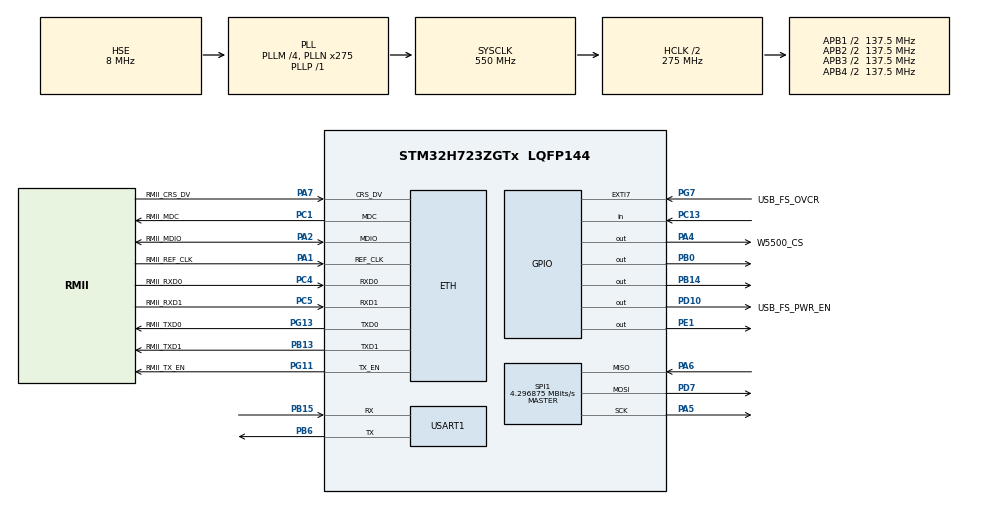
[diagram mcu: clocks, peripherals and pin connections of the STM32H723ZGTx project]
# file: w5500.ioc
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ETH.MediaInterface=HAL_ETH_RMII_MODE
Mcu.Family=STM32H7
Mcu.Name=STM32H723ZGTx
Mcu.Package=LQFP144
NUCLEO-H723ZG.BUTTON=1
NUCLEO-H723ZG.LD1=true
NUCLEO-H723ZG.LD2=true
NUCLEO-H723ZG.LD3=true
NUCLEO-H723ZG.VCP=true
NVIC.EXTI15_10_IRQn=true\:0\:0\:false\:false\:true\:false\:true\:true
NVIC.PriorityGroup=NVIC_PRIORITYGROUP_4
PA1.GPIO_Label=RMII_REF_CLK
PA1.Mode=RMII
PA1.Signal=ETH_REF_CLK
PA10.GPIO_Label=USB_FS_ID
PA10.Signal=USB_OTG_HS_ID
PA13(JTMS/SWDIO).GPIO_Label=SWDIO
PA13(JTMS/SWDIO).Mode=Trace_Asynchronous_SW
PA13(JTMS/SWDIO).Signal=DEBUG_JTMS-SWDIO
PA14(JTCK/SWCLK).GPIO_Label=SWCLK
PA14(JTCK/SWCLK).Mode=Trace_Asynchronous_SW
PA14(JTCK/SWCLK).Signal=DEBUG_JTCK-SWCLK
PA2.GPIO_Label=RMII_MDIO
PA2.Mode=RMII
PA2.Signal=ETH_MDIO
PA4.GPIO_Label=W5500_CS
PA4.Signal=GPIO_Output
PA5.Mode=Full_Duplex_Master
PA5.Signal=SPI1_SCK
PA6.Mode=Full_Duplex_Master
PA6.Signal=SPI1_MISO
PA7.GPIO_Label=RMII_CRS_DV
PA7.Mode=RMII
PA7.Signal=ETH_CRS_DV
PA9.GPIO_Label=USB_FS_VBUS
PA9.Signal=USB_OTG_HS_VBUS
PB0.Signal=GPIO_Output
PB13.GPIO_Label=RMII_TXD1
PB13.Mode=RMII
PB13.Signal=ETH_TXD1
PB14.Signal=GPIO_Output
PB15.Mode=Asynchronous
PB15.Signal=USART1_RX
PB3(JTDO/TRACESWO).GPIO_Label=SWO
PB3(JTDO/TRACESWO).Mode=Trace_Asynchronous_SW
PB3(JTDO/TRACESWO).Signal=DEBUG_JTDO-SWO
PB6.Mode=Asynchronous
PB6.Signal=USART1_TX
PC1.GPIO_Label=RMII_MDC
PC1.Mode=RMII
PC1.Signal=ETH_MDC
PC13.Signal=GPIO_Input
PC14-OSC32_IN.Mode=LSE-External-Oscillator
PC14-OSC32_IN.Signal=RCC_OSC32_IN
PC15-OSC32_OUT.Mode=LSE-External-Oscillator
PC15-OSC32_OUT.Signal=RCC_OSC32_OUT
PC4.GPIO_Label=RMII_RXD0
PC4.Mode=RMII
PC4.Signal=ETH_RXD0
PC5.GPIO_Label=RMII_RXD1
PC5.Mode=RMII
PC5.Signal=ETH_RXD1
PD10.GPIO_Label=USB_FS_PWR_EN
PD10.Signal=GPIO_Output
PD7.Mode=Full_Duplex_Master
PD7.Signal=SPI1_MOSI
PD8.Signal=USART3_TX
PD9.Signal=USART3_RX
PE1.Signal=GPIO_Output
PG11.GPIO_Label=RMII_TX_EN
PG11.Mode=RMII
PG11.Signal=ETH_TX_EN
PG13.GPIO_Label=RMII_TXD0
PG13.Mode=RMII
PG13.Signal=ETH_TXD0
PG7.GPIO_Label=USB_FS_OVCR
PG7.Signal=GPXTI7
PH0-OSC_IN.GPIO_Label=MCO
PH0-OSC_IN.Mode=HSE-External-Clock-Source
PH0-OSC_IN.Signal=RCC_OSC_IN
PH1-OSC_OUT.Signal=RCC_OSC_OUT
ProjectManager.HeapSize=0x200
ProjectManager.StackSize=0x400
ProjectManager.TargetToolchain=STM32CubeIDE
RCC.ADCFreq_Value=76000000
RCC.APB1Freq_Value=137500000
RCC.APB2Freq_Value=137500000
RCC.APB3Freq_Value=137500000
RCC.APB4Freq_Value=137500000
RCC.CortexFreq_Value=550000000
RCC.D1PPRE=RCC_APB3_DIV2
RCC.D2PPRE1=RCC_APB1_DIV2
RCC.D2PPRE2=RCC_APB2_DIV2
RCC.D3PPRE=RCC_APB4_DIV2
RCC.DIVM1=4
RCC.DIVM2=1
RCC.DIVN1=275
RCC.DIVN2=19
RCC.DIVP1=1
RCC.DIVQ1=4
RCC.HCLKFreq_Value=275000000
RCC.HPRE=RCC_HCLK_DIV2
RCC.HSE_VALUE=8000000
RCC.PLLFRACN=0
RCC.PLLSourceVirtual=RCC_PLLSOURCE_HSE
RCC.SYSCLKFreq_VALUE=550000000
RCC.SYSCLKSource=RCC_SYSCLKSOURCE_PLLCLK
RCC.USBCLockSelection=RCC_USBCLKSOURCE_HSI48
RCC.USBFreq_Value=48000000
SPI1.BaudRatePrescaler=SPI_BAUDRATEPRESCALER_32
SPI1.CalculateBaudRate=4.296875 MBits/s
SPI1.DataSize=SPI_DATASIZE_8BIT
SPI1.Direction=SPI_DIRECTION_2LINES
SPI1.Mode=SPI_MODE_MASTER
SPI1.VirtualType=VM_MASTER
USART1.VirtualMode-Asynchronous=VM_ASYNC
VP_MEMORYMAP_VS_MEMORYMAP.Mode=CurAppReg
VP_NUCLEO-H723ZG_VS_BSP_COMMON.Mode=COMMON
board=NUCLEO-H723ZG

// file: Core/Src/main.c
/* USER CODE BEGIN Header */
/**
  ******************************************************************************
  * @file           : main.c
  * @brief          : Main program body
  ******************************************************************************
  * @attention
  *
  * Copyright (c) 2026 STMicroelectronics.
  * All rights reserved.
  *
  * This software is licensed under terms that can be found in the LICENSE file
  * in the root directory of this software component.
  * If no LICENSE file comes with this software, it is provided AS-IS.
  *
  ******************************************************************************
  */
/* USER CODE END Header */
#include "main.h"
#include "string.h"

/* USER CODE BEGIN Includes */
#include <string.h>
#include <stdarg.h>
#include <stdbool.h>
#include <ctype.h>
#include "socket.h"
#include "dhcp.h"
#include "dns.h"
#include "mqtt_led.h"
/* USER CODE END Includes */

#if defined ( __ICCARM__ ) /*!< IAR Compiler */
#pragma location=0x30000000
ETH_DMADescTypeDef  DMARxDscrTab[ETH_RX_DESC_CNT]; /* Ethernet Rx DMA Descriptors */
#pragma location=0x30000080
ETH_DMADescTypeDef  DMATxDscrTab[ETH_TX_DESC_CNT]; /* Ethernet Tx DMA Descriptors */

#elif defined ( __CC_ARM )  /* MDK ARM Compiler */

__attribute__((at(0x30000000))) ETH_DMADescTypeDef  DMARxDscrTab[ETH_RX_DESC_CNT]; /* Ethernet Rx DMA Descriptors */
__attribute__((at(0x30000080))) ETH_DMADescTypeDef  DMATxDscrTab[ETH_TX_DESC_CNT]; /* Ethernet Tx DMA Descriptors */

#elif defined ( __GNUC__ ) /* GNU Compiler */

ETH_DMADescTypeDef DMARxDscrTab[ETH_RX_DESC_CNT] __attribute__((section(".RxDescripSection"))); /* Ethernet Rx DMA Descriptors */
ETH_DMADescTypeDef DMATxDscrTab[ETH_TX_DESC_CNT] __attribute__((section(".TxDescripSection")));   /* Ethernet Tx DMA Descriptors */
#endif

ETH_TxPacketConfig TxConfig;

COM_InitTypeDef BspCOMInit;

ETH_HandleTypeDef heth;

SPI_HandleTypeDef hspi1;

UART_HandleTypeDef huart1;

void SystemClock_Config(void);
static void MX_GPIO_Init(void);
static void MX_ETH_Init(void);
static void MX_SPI1_Init(void);
static void MX_USART1_UART_Init(void);

/* USER CODE BEGIN 0 */

#define DHCP_SOCKET     0
#define DNS_SOCKET      1
#define HTTP_SOCKET     2
#define ECHO_SOCKET		3
#define ECHO_PORT   	8080
void UART_Printf(const char* fmt, ...) {
    char buff[256];
    va_list args;
    va_start(args, fmt);
    vsnprintf(buff, sizeof(buff), fmt, args);
    HAL_UART_Transmit(&huart1, (uint8_t*)buff, strlen(buff),
                      HAL_MAX_DELAY);
    va_end(args);
}

void W5500_Select(void) {
    HAL_GPIO_WritePin(W5500_CS_GPIO_Port, W5500_CS_Pin, GPIO_PIN_RESET);
}

void W5500_Unselect(void) {
    HAL_GPIO_WritePin(W5500_CS_GPIO_Port, W5500_CS_Pin, GPIO_PIN_SET);
}

//void W5500_ReadBuff(uint8_t* buff, uint16_t len) {
//    HAL_SPI_Receive(&hspi1, buff, len, HAL_MAX_DELAY);
//}

void W5500_ReadBuff(uint8_t *buff, uint16_t len)
{
    if (HAL_SPI_Receive(&hspi1, buff, len, 100) != HAL_OK)
    {
        UART_Printf("W5500 SPI read failed: %d\r\n",
                    HAL_SPI_GetError(&hspi1));
        Error_Handler();
    }
}

void W5500_WriteBuff(uint8_t* buff, uint16_t len) {
    HAL_SPI_Transmit(&hspi1, buff, len, HAL_MAX_DELAY);
}

uint8_t W5500_ReadByte(void) {
    uint8_t byte;
    W5500_ReadBuff(&byte, sizeof(byte));
    return byte;
}

void W5500_WriteByte(uint8_t byte) {
    W5500_WriteBuff(&byte, sizeof(byte));
}

volatile bool ip_assigned = false;

void Callback_IPAssigned(void) {
    UART_Printf("Callback: IP assigned! Leased time: %d sec\r\n", getDHCPLeasetime());
    ip_assigned = true;
}

void Callback_IPConflict(void) {
    UART_Printf("Callback: IP conflict!\r\n");
}

void tcp_echo_server(void) {
    int32_t ret;
    uint8_t buf[256];

    // Create socket
    ret = socket(ECHO_SOCKET, Sn_MR_TCP, ECHO_PORT, 0);
    if(ret != ECHO_SOCKET) {
        UART_Printf("socket() failed, code = %d\r\n", ret);
        return;
    }

    // Listen for incoming connections
    ret = listen(ECHO_SOCKET);
    if(ret != SOCK_OK) {
        UART_Printf("listen() failed, code = %d\r\n", ret);
        close(ECHO_SOCKET);
        return;
    }

    UART_Printf("Echo server listening on port %d...\r\n", ECHO_PORT);

    while(1) {
        // Check socket status
        switch(getSn_SR(ECHO_SOCKET)) {
            case SOCK_ESTABLISHED:
                if(getSn_IR(ECHO_SOCKET) & Sn_IR_CON) {
                    UART_Printf("Client connected!\r\n");
                    setSn_IR(ECHO_SOCKET, Sn_IR_CON); // clear interrupt
                }

                // Receive data
                ret = recv(ECHO_SOCKET, buf, sizeof(buf));
                if(ret > 0) {
                    UART_Printf("Received %d bytes: %.*s\r\n", ret, ret, buf);
                    // Echo back
                    send(ECHO_SOCKET, buf, ret);
                }
                break;

            case SOCK_CLOSE_WAIT:
                UART_Printf("Client disconnected.\r\n");
                disconnect(ECHO_SOCKET);
                break;

            case SOCK_CLOSED:
                UART_Printf("Socket closed, reopening...\r\n");
                ret = socket(ECHO_SOCKET, Sn_MR_TCP, ECHO_PORT, 0);
                if(ret == ECHO_SOCKET) listen(ECHO_SOCKET);
                break;
        }

        HAL_Delay(10); // small delay to avoid busy loop
    }
}

// 1K should be enough, see https://forum.wiznet.io/t/topic/1612/2
uint8_t dhcp_buffer[1024];
// 1K seems to be enough for this buffer as well
uint8_t dns_buffer[1024];

//void init() {
//    UART_Printf("\r\ninit() called!\r\n");
//
//    UART_Printf("Registering W5500 callbacks...\r\n");
//    reg_wizchip_cs_cbfunc(W5500_Select, W5500_Unselect);
//    reg_wizchip_spi_cbfunc(W5500_ReadByte, W5500_WriteByte);
//    reg_wizchip_spiburst_cbfunc(W5500_ReadBuff, W5500_WriteBuff);
//
//    UART_Printf("Calling wizchip_init()...\r\n");
//    uint8_t rx_tx_buff_sizes[] = {2, 2, 2, 2, 2, 2, 2, 2};
//    wizchip_init(rx_tx_buff_sizes, rx_tx_buff_sizes);
//
//
//    wiz_NetInfo net_info = {
//        .mac = {0x00,0x08,0xDC,0x11,0x22,0x33},   // unique MAC
//        .ip  = {192,168,137,2},                   // static IP
//        .sn  = {255,255,255,0},                   // subnet mask
//        .gw  = {192,168,137,1},                     // gateway
//        .dhcp = NETINFO_STATIC
//    };
//
//    wizchip_setnetinfo(&net_info);
//    wiz_NetInfo current;
//    wizchip_getnetinfo(&current);
//
//    UART_Printf("IP:  %d.%d.%d.%d\r\nGW:  %d.%d.%d.%d\r\nNet: %d.%d.%d.%d\r\n",
//        current.ip[0], current.ip[1], current.ip[2], current.ip[3],
//        current.gw[0], current.gw[1], current.gw[2], current.gw[3],
//        current.sn[0], current.sn[1], current.sn[2], current.sn[3]
//    );
///*the following portion of the code did work=> but one socket at a time*/
//
//
////    UART_Printf("Creating socket...\r\n");
////    uint8_t echo_socket = HTTP_SOCKET;   // reuse the same socket number
////    uint8_t code = socket(echo_socket, Sn_MR_TCP, 10888, 0);
////    if(code != echo_socket) {
////        UART_Printf("socket() failed, code = %d\r\n", code);
////        return;
////    }
////
////    UART_Printf("Socket created, connecting...\r\n");
////    // Connect to your PC running Hercules/netcat echo server
////    uint8_t pc_ip[4] = {192,168,137,1};  // your PC’s IP
////    code = connect(echo_socket, pc_ip, 8080); // port where echo server is listening
////    if(code != SOCK_OK) {
////        UART_Printf("connect() failed, code = %d\r\n", code);
////        close(echo_socket);
////        return;
////    }
////
////    UART_Printf("Connected, sending test string...\r\n");
////    {
////        char msg[] = "Hello from W5500!\r\n";
////        int32_t nbytes = send(echo_socket, (uint8_t*)msg, strlen(msg));
////        if(nbytes <= 0) {
////            UART_Printf("send() failed, %d returned\r\n", nbytes);
////            close(echo_socket);
////            return;
////        }
////        UART_Printf("%d bytes sent!\r\n", nbytes);
////    }
////
////    UART_Printf("Waiting for echo...\r\n");
////    {
////        char buff[64];
////        int32_t nbytes = recv(echo_socket, (uint8_t*)buff, sizeof(buff)-1);
////        if(nbytes > 0) {
////            buff[nbytes] = '\0';
////            UART_Printf("Echo received: %s\r\n", buff);
////        } else {
////            UART_Printf("recv() failed, %d returned\r\n", nbytes);
////        }
////    }
////
////    UART_Printf("Closing socket.\r\n");
////    close(echo_socket);
//    tcp_echo_server();
//
//}

//
//void init(void)
//{
//    UART_Printf("\r\nInitializing W5500...\r\n");
//
//    reg_wizchip_cs_cbfunc(W5500_Select, W5500_Unselect);
//    reg_wizchip_spi_cbfunc(W5500_ReadByte, W5500_WriteByte);
//    reg_wizchip_spiburst_cbfunc(W5500_ReadBuff, W5500_WriteBuff);
//
//    uint8_t tx_rx_sizes[8] = {2, 2, 2, 2, 2, 2, 2, 2};
//
//    if (wizchip_init(tx_rx_sizes, tx_rx_sizes) != 0) {
//        UART_Printf("wizchip_init failed\r\n");
//        return;
//    }
//
//    wiz_NetInfo net_info = {
//        .mac  = {0x00, 0x08, 0xDC, 0x11, 0x22, 0x33},
//        .ip   = {192, 168, 137, 2},
//        .sn   = {255, 255, 255, 0},
//        .gw   = {192, 168, 137, 1},
//        .dhcp = NETINFO_STATIC
//    };
//
//    wizchip_setnetinfo(&net_info);
//
//    wiz_NetInfo current;
//    wizchip_getnetinfo(&current);
//
//    UART_Printf("W5500 IP: %d.%d.%d.%d\r\n",
//        current.ip[0], current.ip[1],
//        current.ip[2], current.ip[3]);
//
//    UART_Printf("Starting MQTT LED client...\r\n");
//    MQTT_LED_Init();
//}
//void init(void)
//{
//    UART_Printf("\r\nInitializing W5500...\r\n");
//
//    wiz_NetInfo net_info = {
//        .mac  = {0x00, 0x08, 0xDC, 0x11, 0x22, 0x33},
//        .ip   = {192, 168, 137, 2},
//        .sn   = {255, 255, 255, 0},
//        .gw   = {192, 168, 137, 1},
//        .dns  = {8, 8, 8, 8},
//        .dhcp = NETINFO_STATIC
//    };
//
//    uint8_t tx_rx_buffer_sizes[8] = {
//        2, 2, 2, 2, 2, 2, 2, 2
//    };
//
//    /* Register SPI and chip-select callbacks */
//    reg_wizchip_cs_cbfunc(W5500_Select, W5500_Unselect);
//    reg_wizchip_spi_cbfunc(W5500_ReadByte, W5500_WriteByte);
//    reg_wizchip_spiburst_cbfunc(W5500_ReadBuff, W5500_WriteBuff);
//
//    /* Reset and initialize the W5500 */
//    wizchip_sw_reset();
//
//    if (wizchip_init(tx_rx_buffer_sizes,
//                     tx_rx_buffer_sizes) != 0)
//    {
//        Error_Handler();
//    }
//
//    /* CRITICAL FIX: apply the network configuration */
//    wizchip_setnetinfo(&net_info);
//
//    /* Read back the configuration */
//    wiz_NetInfo current;
//    wizchip_getnetinfo(&current);
//
//    UART_Printf(
//        "W5500 IP: %u.%u.%u.%u\r\n",
//        current.ip[0], current.ip[1],
//        current.ip[2], current.ip[3]
//    );
//
//    UART_Printf("Starting MQTT LED client...\r\n");
//
//    MQTT_LED_Init();
//}

void init(void)
{
    wiz_NetInfo net_info = {
        .mac  = {0x00, 0x08, 0xDC, 0x11, 0x22, 0x33},
        .ip   = {192, 168, 137, 2},
        .sn   = {255, 255, 255, 0},
        .gw   = {192, 168, 137, 1},
        .dns  = {8, 8, 8, 8},
        .dhcp = NETINFO_STATIC
    };

    uint8_t sizes[8] = {2, 2, 2, 2, 2, 2, 2, 2};

    reg_wizchip_cs_cbfunc(W5500_Select, W5500_Unselect);
    reg_wizchip_spi_cbfunc(W5500_ReadByte, W5500_WriteByte);
    reg_wizchip_spiburst_cbfunc(W5500_ReadBuff, W5500_WriteBuff);
    uint8_t version = getVERSIONR();

    UART_Printf("W5500 VERSIONR = 0x%02X\r\n", version);

//    if (version != 0x04)
//    {
//        UART_Printf("W5500 SPI communication failed\r\n");
//        Error_Handler();
//    }

    wizchip_sw_reset();
    HAL_Delay(10);

    if (wizchip_init(sizes, sizes) != 0)
    {
        Error_Handler();
    }

    wizchip_setnetinfo(&net_info);
    HAL_Delay(1);

    wiz_NetInfo current = {0};
    wizchip_getnetinfo(&current);

    UART_Printf("W5500 IP: %u.%u.%u.%u\r\n",
                current.ip[0], current.ip[1],
                current.ip[2], current.ip[3]);

    if (memcmp(current.ip, net_info.ip, 4) != 0)
    {
        UART_Printf("ERROR: W5500 IP configuration readback failed\r\n");
        Error_Handler();
    }

    UART_Printf("Starting MQTT LED client...\r\n");
    MQTT_LED_Init();
}

void loop() {
    HAL_Delay(1000);
}
/* USER CODE END 0 */

int main(void)
{

  /* MCU Configuration--------------------------------------------------------*/

  /* Reset of all peripherals, Initializes the Flash interface and the Systick. */
  HAL_Init();
  UART_Printf("MAIN START\r\n");

  /* Configure the system clock */
  SystemClock_Config();

  /* Initialize all configured peripherals */
  MX_GPIO_Init();
  MX_ETH_Init();
  MX_SPI1_Init();
  MX_USART1_UART_Init();

  /* Initialize leds */
//  BSP_LED_Init(LED_GREEN);
//  BSP_LED_Init(LED_YELLOW);
//  BSP_LED_Init(LED_RED);
//
//  /* Initialize USER push-button, will be used to trigger an interrupt each time it's pressed.*/
//  BSP_PB_Init(BUTTON_USER, BUTTON_MODE_EXTI);

  /* Initialize COM1 port (115200, 8 bits (7-bit data + 1 stop bit), no parity */
//  BspCOMInit.BaudRate   = 115200;
//  BspCOMInit.WordLength = COM_WORDLENGTH_8B;
//  BspCOMInit.StopBits   = COM_STOPBITS_1;
//  BspCOMInit.Parity     = COM_PARITY_NONE;
//  BspCOMInit.HwFlowCtl  = COM_HWCONTROL_NONE;
//  if (BSP_COM_Init(COM1, &BspCOMInit) != BSP_ERROR_NONE)
//  {
//    Error_Handler();
//  }

  /* Infinite loop */
  /* USER CODE BEGIN WHILE */
  /* After BSP initialization in main(), before while(1): */
  init();
  while (1)
  {

    /* USER CODE END WHILE */

    /* USER CODE BEGIN 3 */
	    //loop();
	    MQTT_LED_Process();
//	    HAL_GPIO_TogglePin(GPIOB, GPIO_PIN_14); // Example only
//	        HAL_Delay(500);
  }
  /* USER CODE END 3 */
}

void SystemClock_Config(void)
{
  RCC_OscInitTypeDef RCC_OscInitStruct = {0};
  RCC_ClkInitTypeDef RCC_ClkInitStruct = {0};

  /** Supply configuration update enable
  */
  HAL_PWREx_ConfigSupply(PWR_LDO_SUPPLY);

  /** Configure the main internal regulator output voltage
  */
  __HAL_PWR_VOLTAGESCALING_CONFIG(PWR_REGULATOR_VOLTAGE_SCALE0);

  while(!__HAL_PWR_GET_FLAG(PWR_FLAG_VOSRDY)) {}

  /** Initializes the RCC Oscillators according to the specified parameters
  * in the RCC_OscInitTypeDef structure.
  */
  RCC_OscInitStruct.OscillatorType = RCC_OSCILLATORTYPE_HSE;
  RCC_OscInitStruct.HSEState = RCC_HSE_BYPASS;
  RCC_OscInitStruct.PLL.PLLState = RCC_PLL_ON;
  RCC_OscInitStruct.PLL.PLLSource = RCC_PLLSOURCE_HSE;
  RCC_OscInitStruct.PLL.PLLM = 4;
  RCC_OscInitStruct.PLL.PLLN = 275;
  RCC_OscInitStruct.PLL.PLLP = 1;
  RCC_OscInitStruct.PLL.PLLQ = 4;
  RCC_OscInitStruct.PLL.PLLR = 2;
  RCC_OscInitStruct.PLL.PLLRGE = RCC_PLL1VCIRANGE_1;
  RCC_OscInitStruct.PLL.PLLVCOSEL = RCC_PLL1VCOWIDE;
  RCC_OscInitStruct.PLL.PLLFRACN = 0;
  if (HAL_RCC_OscConfig(&RCC_OscInitStruct) != HAL_OK)
  {
    Error_Handler();
  }

  /** Initializes the CPU, AHB and APB buses clocks
  */
  RCC_ClkInitStruct.ClockType = RCC_CLOCKTYPE_HCLK|RCC_CLOCKTYPE_SYSCLK
                              |RCC_CLOCKTYPE_PCLK1|RCC_CLOCKTYPE_PCLK2
                              |RCC_CLOCKTYPE_D3PCLK1|RCC_CLOCKTYPE_D1PCLK1;
  RCC_ClkInitStruct.SYSCLKSource = RCC_SYSCLKSOURCE_PLLCLK;
  RCC_ClkInitStruct.SYSCLKDivider = RCC_SYSCLK_DIV1;
  RCC_ClkInitStruct.AHBCLKDivider = RCC_HCLK_DIV2;
  RCC_ClkInitStruct.APB3CLKDivider = RCC_APB3_DIV2;
  RCC_ClkInitStruct.APB1CLKDivider = RCC_APB1_DIV2;
  RCC_ClkInitStruct.APB2CLKDivider = RCC_APB2_DIV2;
  RCC_ClkInitStruct.APB4CLKDivider = RCC_APB4_DIV2;

  if (HAL_RCC_ClockConfig(&RCC_ClkInitStruct, FLASH_LATENCY_3) != HAL_OK)
  {
    Error_Handler();
  }
}

static void MX_ETH_Init(void)
{

   static uint8_t MACAddr[6];

  heth.Instance = ETH;
  MACAddr[0] = 0x00;
  MACAddr[1] = 0x80;
  MACAddr[2] = 0xE1;
  MACAddr[3] = 0x00;
  MACAddr[4] = 0x00;
  MACAddr[5] = 0x00;
  heth.Init.MACAddr = &MACAddr[0];
  heth.Init.MediaInterface = HAL_ETH_RMII_MODE;
  heth.Init.TxDesc = DMATxDscrTab;
  heth.Init.RxDesc = DMARxDscrTab;
  heth.Init.RxBuffLen = 1536;

  if (HAL_ETH_Init(&heth) != HAL_OK)
  {
    Error_Handler();
  }

  memset(&TxConfig, 0 , sizeof(ETH_TxPacketConfig));
  TxConfig.Attributes = ETH_TX_PACKETS_FEATURES_CSUM | ETH_TX_PACKETS_FEATURES_CRCPAD;
  TxConfig.ChecksumCtrl = ETH_CHECKSUM_IPHDR_PAYLOAD_INSERT_PHDR_CALC;
  TxConfig.CRCPadCtrl = ETH_CRC_PAD_INSERT;

}

static void MX_SPI1_Init(void)
{

  /* SPI1 parameter configuration*/
  hspi1.Instance = SPI1;
  hspi1.Init.Mode = SPI_MODE_MASTER;
  hspi1.Init.Direction = SPI_DIRECTION_2LINES;
  hspi1.Init.DataSize = SPI_DATASIZE_8BIT;
  hspi1.Init.CLKPolarity = SPI_POLARITY_LOW;
  hspi1.Init.CLKPhase = SPI_PHASE_1EDGE;
  hspi1.Init.NSS = SPI_NSS_SOFT;
  hspi1.Init.BaudRatePrescaler = SPI_BAUDRATEPRESCALER_32;
  hspi1.Init.FirstBit = SPI_FIRSTBIT_MSB;
  hspi1.Init.TIMode = SPI_TIMODE_DISABLE;
  hspi1.Init.CRCCalculation = SPI_CRCCALCULATION_DISABLE;
  hspi1.Init.CRCPolynomial = 0x0;
  hspi1.Init.NSSPMode = SPI_NSS_PULSE_ENABLE;
  hspi1.Init.NSSPolarity = SPI_NSS_POLARITY_LOW;
  hspi1.Init.FifoThreshold = SPI_FIFO_THRESHOLD_01DATA;
  hspi1.Init.TxCRCInitializationPattern = SPI_CRC_INITIALIZATION_ALL_ZERO_PATTERN;
  hspi1.Init.RxCRCInitializationPattern = SPI_CRC_INITIALIZATION_ALL_ZERO_PATTERN;
  hspi1.Init.MasterSSIdleness = SPI_MASTER_SS_IDLENESS_00CYCLE;
  hspi1.Init.MasterInterDataIdleness = SPI_MASTER_INTERDATA_IDLENESS_00CYCLE;
  hspi1.Init.MasterReceiverAutoSusp = SPI_MASTER_RX_AUTOSUSP_DISABLE;
  hspi1.Init.MasterKeepIOState = SPI_MASTER_KEEP_IO_STATE_DISABLE;
  hspi1.Init.IOSwap = SPI_IO_SWAP_DISABLE;
  if (HAL_SPI_Init(&hspi1) != HAL_OK)
  {
    Error_Handler();
  }

}

static void MX_USART1_UART_Init(void)
{

  huart1.Instance = USART1;
  huart1.Init.BaudRate = 115200;
  huart1.Init.WordLength = UART_WORDLENGTH_8B;
  huart1.Init.StopBits = UART_STOPBITS_1;
  huart1.Init.Parity = UART_PARITY_NONE;
  huart1.Init.Mode = UART_MODE_TX_RX;
  huart1.Init.HwFlowCtl = UART_HWCONTROL_NONE;
  huart1.Init.OverSampling = UART_OVERSAMPLING_16;
  huart1.Init.OneBitSampling = UART_ONE_BIT_SAMPLE_DISABLE;
  huart1.Init.ClockPrescaler = UART_PRESCALER_DIV1;
  huart1.AdvancedInit.AdvFeatureInit = UART_ADVFEATURE_NO_INIT;
  if (HAL_UART_Init(&huart1) != HAL_OK)
  {
    Error_Handler();
  }
  if (HAL_UARTEx_SetTxFifoThreshold(&huart1, UART_TXFIFO_THRESHOLD_1_8) != HAL_OK)
  {
    Error_Handler();
  }
  if (HAL_UARTEx_SetRxFifoThreshold(&huart1, UART_RXFIFO_THRESHOLD_1_8) != HAL_OK)
  {
    Error_Handler();
  }
  if (HAL_UARTEx_DisableFifoMode(&huart1) != HAL_OK)
  {
    Error_Handler();
  }

}

static void MX_GPIO_Init(void)
{
  GPIO_InitTypeDef GPIO_InitStruct = {0};

  /* GPIO Ports Clock Enable */
  __HAL_RCC_GPIOC_CLK_ENABLE();
  __HAL_RCC_GPIOH_CLK_ENABLE();
  __HAL_RCC_GPIOA_CLK_ENABLE();
  __HAL_RCC_GPIOB_CLK_ENABLE();
  __HAL_RCC_GPIOD_CLK_ENABLE();
  __HAL_RCC_GPIOG_CLK_ENABLE();

  /*Configure GPIO pin Output Level */
  HAL_GPIO_WritePin(W5500_CS_GPIO_Port, W5500_CS_Pin, GPIO_PIN_RESET);

  /*Configure GPIO pin Output Level */
  HAL_GPIO_WritePin(GPIOB, GPIO_PIN_14, GPIO_PIN_RESET);

  /*Configure GPIO pin Output Level */
  HAL_GPIO_WritePin(USB_FS_PWR_EN_GPIO_Port, USB_FS_PWR_EN_Pin, GPIO_PIN_RESET);

  /*Configure GPIO pin : W5500_CS_Pin */
  GPIO_InitStruct.Pin = W5500_CS_Pin;
  GPIO_InitStruct.Mode = GPIO_MODE_OUTPUT_PP;
  GPIO_InitStruct.Pull = GPIO_NOPULL;
  GPIO_InitStruct.Speed = GPIO_SPEED_FREQ_LOW;
  HAL_GPIO_Init(W5500_CS_GPIO_Port, &GPIO_InitStruct);

  /*Configure GPIO pin : PB14 */
  GPIO_InitStruct.Pin = GPIO_PIN_14;
  GPIO_InitStruct.Mode = GPIO_MODE_OUTPUT_PP;
  GPIO_InitStruct.Pull = GPIO_NOPULL;
  GPIO_InitStruct.Speed = GPIO_SPEED_FREQ_LOW;
  HAL_GPIO_Init(GPIOB, &GPIO_InitStruct);

  /*Configure GPIO pin : USB_FS_PWR_EN_Pin */
  GPIO_InitStruct.Pin = USB_FS_PWR_EN_Pin;
  GPIO_InitStruct.Mode = GPIO_MODE_OUTPUT_PP;
  GPIO_InitStruct.Pull = GPIO_NOPULL;
  GPIO_InitStruct.Speed = GPIO_SPEED_FREQ_LOW;
  HAL_GPIO_Init(USB_FS_PWR_EN_GPIO_Port, &GPIO_InitStruct);

  /*Configure GPIO pin : USB_FS_OVCR_Pin */
  GPIO_InitStruct.Pin = USB_FS_OVCR_Pin;
  GPIO_InitStruct.Mode = GPIO_MODE_IT_RISING;
  GPIO_InitStruct.Pull = GPIO_NOPULL;
  HAL_GPIO_Init(USB_FS_OVCR_GPIO_Port, &GPIO_InitStruct);

  /*Configure GPIO pin : USB_FS_ID_Pin */
  GPIO_InitStruct.Pin = USB_FS_ID_Pin;
  GPIO_InitStruct.Mode = GPIO_MODE_AF_PP;
  GPIO_InitStruct.Pull = GPIO_NOPULL;
  GPIO_InitStruct.Speed = GPIO_SPEED_FREQ_LOW;
  GPIO_InitStruct.Alternate = GPIO_AF10_OTG1_HS;
  HAL_GPIO_Init(USB_FS_ID_GPIO_Port, &GPIO_InitStruct);

}

void Error_Handler(void)
{
  __disable_irq();
  while (1)
  {
  }
}
